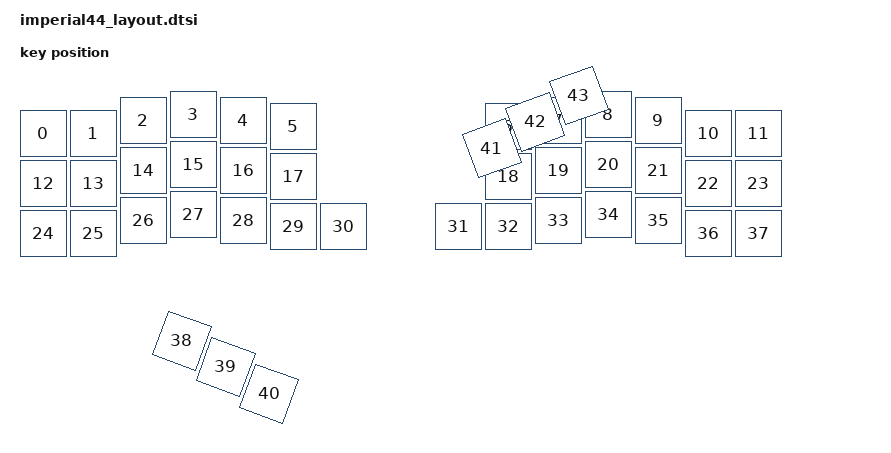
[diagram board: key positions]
#include <physical_layouts.dtsi>

/ {
    physical_layout: physical_layout {
        compatible = "zmk,physical-layout";
        display-name = "Imperial44";

        kscan = <&kscan0>;
        transform = <&default_transform>;

        keys  //                     w   h    x    y     rot    rx    ry
            = <&key_physical_attrs 100 100    0   38       0     0     0>
            , <&key_physical_attrs 100 100  100   38       0     0     0>
            , <&key_physical_attrs 100 100  200   12       0     0     0>
            , <&key_physical_attrs 100 100  300    0       0     0     0>
            , <&key_physical_attrs 100 100  400   12       0     0     0>
            , <&key_physical_attrs 100 100  500   25       0     0     0>
            , <&key_physical_attrs 100 100  930   25       0     0     0>
            , <&key_physical_attrs 100 100 1030   12       0     0     0>
            , <&key_physical_attrs 100 100 1130    0       0     0     0>
            , <&key_physical_attrs 100 100 1230   12       0     0     0>
            , <&key_physical_attrs 100 100 1330   38       0     0     0>
            , <&key_physical_attrs 100 100 1430   38       0     0     0>
            , <&key_physical_attrs 100 100    0  138       0     0     0>
            , <&key_physical_attrs 100 100  100  138       0     0     0>
            , <&key_physical_attrs 100 100  200  112       0     0     0>
            , <&key_physical_attrs 100 100  300  100       0     0     0>
            , <&key_physical_attrs 100 100  400  112       0     0     0>
            , <&key_physical_attrs 100 100  500  125       0     0     0>
            , <&key_physical_attrs 100 100  930  125       0     0     0>
            , <&key_physical_attrs 100 100 1030  112       0     0     0>
            , <&key_physical_attrs 100 100 1130  100       0     0     0>
            , <&key_physical_attrs 100 100 1230  112       0     0     0>
            , <&key_physical_attrs 100 100 1330  138       0     0     0>
            , <&key_physical_attrs 100 100 1430  138       0     0     0>
            , <&key_physical_attrs 100 100    0  238       0     0     0>
            , <&key_physical_attrs 100 100  100  238       0     0     0>
            , <&key_physical_attrs 100 100  200  212       0     0     0>
            , <&key_physical_attrs 100 100  300  200       0     0     0>
            , <&key_physical_attrs 100 100  400  212       0     0     0>
            , <&key_physical_attrs 100 100  500  225       0     0     0>
            , <&key_physical_attrs 100 100  600  225       0     0     0>
            , <&key_physical_attrs 100 100  830  225       0     0     0>
            , <&key_physical_attrs 100 100  930  225       0     0     0>
            , <&key_physical_attrs 100 100 1030  212       0     0     0>
            , <&key_physical_attrs 100 100 1130  200       0     0     0>
            , <&key_physical_attrs 100 100 1230  212       0     0     0>
            , <&key_physical_attrs 100 100 1330  238       0     0     0>
            , <&key_physical_attrs 100 100 1430  238       0     0     0>
            , <&key_physical_attrs 100 100  430  310    2000     0     0>
            , <&key_physical_attrs 100 100  530  330    2000     0     0>
            , <&key_physical_attrs 100 100  630  350    2000     0     0>
            , <&key_physical_attrs 100 100  800  385 (-2000)     0     0>
            , <&key_physical_attrs 100 100  900  365 (-2000)     0     0>
            , <&key_physical_attrs 100 100 1000  345 (-2000)     0     0>
            ;
    };
};
